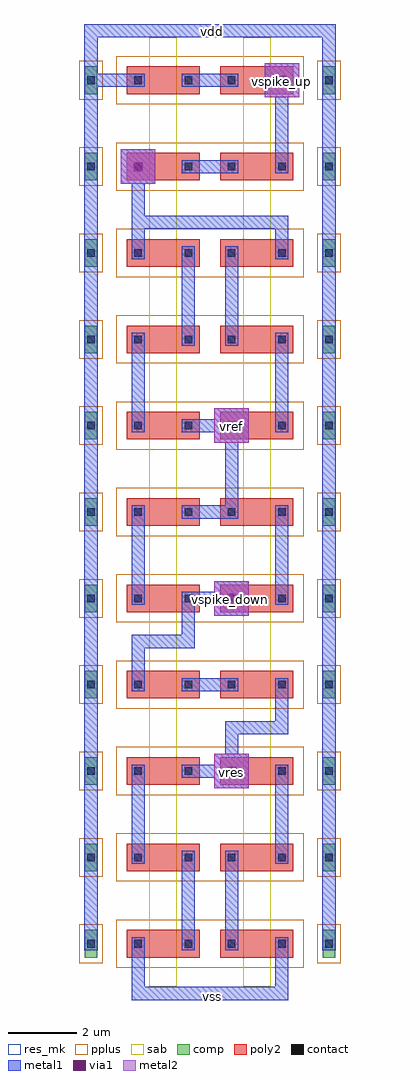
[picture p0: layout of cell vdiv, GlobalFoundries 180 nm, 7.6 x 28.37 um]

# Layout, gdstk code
from math import pi, radians
import gdstk
lib = gdstk.Library(unit=1e-6, precision=5e-09)
def R(c, l, rs):  # rectangles x0, y0, x1, y1
    for r in rs: c.add(gdstk.rectangle(r[:2], r[2:], *l))
def A(c, l, x, y, w, h, nx, ny, dx, dy):  # array of equal rectangles
    R(c, l, [(x+i*dx, y+j*dy, x+i*dx+w, y+j*dy+h) for i in range(nx) for j in range(ny)])
comp = (22, 0)
poly2 = (30, 0)
pplus = (31, 0)
contact = (33, 0)
metal1 = (34, 0)
via1 = (35, 0)
metal2 = (36, 0)
sab = (49, 0)
res_mk = (110, 5)

ppolyf_u_resistor = lib.new_cell('ppolyf_u_resistor')
R(ppolyf_u_resistor, comp, [(-1.88,0,-1.52,0.8)])
R(ppolyf_u_resistor, poly2, [(-0.66,0,1.46,0.8)])
R(ppolyf_u_resistor, pplus, [(-0.96,-0.3,1.76,1.1), (-2.04,-0.16,-1.36,0.96)])
R(ppolyf_u_resistor, contact, [(-1.81,0.29,-1.59,0.51), (-0.44,0.29,-0.22,0.51), (1.02,0.29,1.24,0.51)])
R(ppolyf_u_resistor, metal1, [(-1.89,0.21,-1.51,0.59), (-0.52,0.21,-0.14,0.59), (0.94,0.21,1.32,0.59)])
R(ppolyf_u_resistor, sab, [(0,-0.855,0.8,1.655)])
R(ppolyf_u_resistor, res_mk, [(0,0,0.8,0.8)])

via_dev = lib.new_cell('via_dev')

via_dev_2 = lib.new_cell('via_dev$2')
R(via_dev_2, metal1, [(0,0,1,1)])
R(via_dev_2, via1, [(0.37,0.37,0.63,0.63)])
R(via_dev_2, metal2, [(0,0,1,1)])

vdiv = lib.new_cell('vdiv')
A(vdiv, metal1, 0.66, -20.325, 0.88, 0.38, 1, 5, 0, 2.51)
R(vdiv, metal1, [(-1.18,-26.79,-0.8,-25.345), (-0.8,-26.79,3.38,-26.41), (3,-26.49,3.38,-25.345), (-2.55,-25.345,-2.17,1.205), (4.37,-25.345,4.75,1.205), (0.28,-24.965,0.66,-22.835), (1.54,-24.965,1.92,-22.835), (3,-22.46,3.38,-20.325), (-1.18,-22.455,-0.8,-20.325), (1.54,-19.945,1.92,-19.04), (1.54,-19.07,3.38,-18.69), (3,-18.82,3.38,-17.815), (-1.18,-17.435,-0.8,-16.53), (-1.18,-16.56,0.66,-16.18), (0.28,-16.31,0.66,-15.305), (-1.18,-14.925,-0.8,-12.795), (3,-14.925,3.38,-12.795), (1.54,-12.415,1.92,-10.285), (-1.18,-9.905,-0.8,-7.775), (3,-9.905,3.38,-7.775), (0.28,-7.395,0.66,-5.265), (1.54,-7.395,1.92,-5.265), (3,-4.89,3.38,-3.995), (-1.18,-4.885,-0.8,-2.75), (-0.8,-4.375,3.2,-3.995), (0.66,-2.755,1.54,-2.375), (3,-2.375,3.38,-0.245), (-2.17,-0.245,-1.18,0.135), (0.66,-0.245,1.54,0.13), (-2.55,1.2,4.75,1.58)])
vdiv.add(gdstk.Reference(ppolyf_u_resistor, (-0.66,-0.455)))
vdiv.add(gdstk.Reference(ppolyf_u_resistor, (2.86,0.345), rotation=pi))
vdiv.add(gdstk.Reference(ppolyf_u_resistor, (-0.66,-2.965)))
vdiv.add(gdstk.Reference(ppolyf_u_resistor, (2.86,-2.165), rotation=pi))
vdiv.add(gdstk.Reference(ppolyf_u_resistor, (-0.66,-5.475)))
vdiv.add(gdstk.Reference(ppolyf_u_resistor, (2.86,-4.675), rotation=pi))
vdiv.add(gdstk.Reference(ppolyf_u_resistor, (2.86,-7.185), rotation=pi))
vdiv.add(gdstk.Reference(ppolyf_u_resistor, (-0.66,-7.985)))
vdiv.add(gdstk.Reference(ppolyf_u_resistor, (2.86,-9.695), rotation=pi))
vdiv.add(gdstk.Reference(ppolyf_u_resistor, (-0.66,-10.495)))
vdiv.add(gdstk.Reference(ppolyf_u_resistor, (-0.66,-13.005)))
vdiv.add(gdstk.Reference(ppolyf_u_resistor, (2.86,-12.205), rotation=pi))
vdiv.add(gdstk.Reference(ppolyf_u_resistor, (-0.66,-15.515)))
vdiv.add(gdstk.Reference(ppolyf_u_resistor, (2.86,-14.715), rotation=pi))
vdiv.add(gdstk.Reference(ppolyf_u_resistor, (-0.66,-18.025)))
vdiv.add(gdstk.Reference(ppolyf_u_resistor, (2.86,-17.225), rotation=pi))
vdiv.add(gdstk.Reference(ppolyf_u_resistor, (2.86,-19.735), rotation=pi))
vdiv.add(gdstk.Reference(ppolyf_u_resistor, (-0.66,-20.535)))
vdiv.add(gdstk.Reference(ppolyf_u_resistor, (-0.66,-23.045)))
vdiv.add(gdstk.Reference(ppolyf_u_resistor, (2.86,-22.245), rotation=pi))
vdiv.add(gdstk.Reference(via_dev, (3.73,1.075)))
vdiv.add(gdstk.Reference(via_dev_2, (2.69,-0.555)))
vdiv.add(gdstk.Reference(via_dev_2, (-1.49,-3.065)))
vdiv.add(gdstk.Reference(ppolyf_u_resistor, (-0.66,-25.555)))
vdiv.add(gdstk.Reference(ppolyf_u_resistor, (2.86,-24.755), rotation=pi))
vdiv.add(gdstk.Reference(via_dev_2, (1.23,-10.595)))
vdiv.add(gdstk.Reference(via_dev_2, (1.23,-15.615)))
vdiv.add(gdstk.Reference(via_dev_2, (1.23,-20.635)))
vdiv.add(gdstk.Label('vspike_up', (3.19,-0.08), layer=36, texttype=10))
vdiv.add(gdstk.Label('vref', (1.715,-10.125), layer=36, texttype=10))
vdiv.add(gdstk.Label('vspike_down', (1.705,-15.155), layer=36, texttype=10))
vdiv.add(gdstk.Label('vres', (1.72,-20.165), layer=36, texttype=10))
vdiv.add(gdstk.Label('vss', (1.16,-26.695), layer=34, texttype=10))
vdiv.add(gdstk.Label('vdd', (1.17,1.365), layer=34, texttype=10))

lib.write_gds('vdiv.gds')
